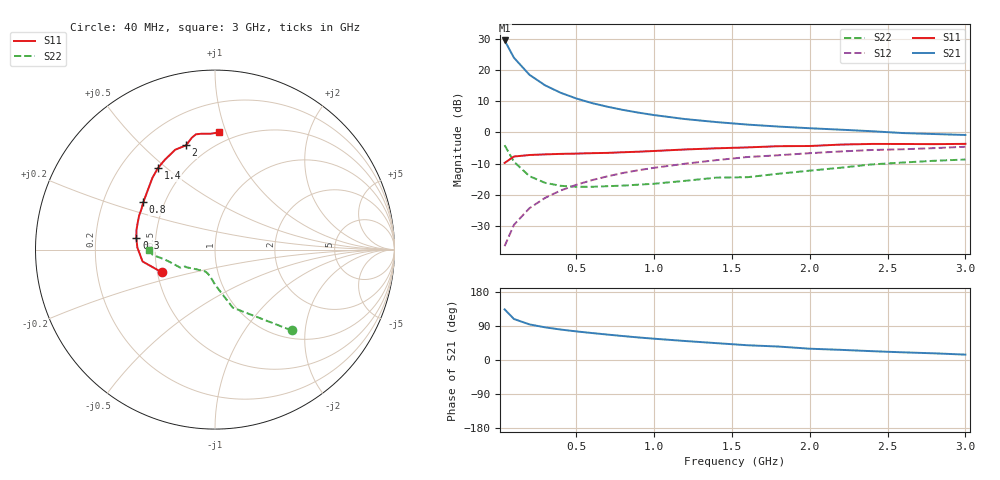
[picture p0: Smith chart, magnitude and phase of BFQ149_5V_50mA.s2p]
! Filename:  BFQ149C.S2P  Version:  2.0
! Philips part #: BFQ149  Date: Aug 1990
! Bias condition: Vce=-5V, Ic=-50mA
#  MHz  S  MA  R  50
! Freq  S11  S21  S12  S22  !GUM [dB]
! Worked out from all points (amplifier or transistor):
!   21 points, 40 MHz to 3 GHz, reference 50 ohm
!   highest |S21| = 29.4 dB at 40 MHz (marker M1)
!   |S21| within 3 dB of that: start of sweep to 72.47 MHz
!   unconditionally stable (mu >= 1): 180.5 MHz to 1.068 GHz
!   at 300 MHz: K = 1.03, MAG = 16.9 dB, |S12| = -21.0 dB
!   at 1 GHz: K = 1.01, MAG = 7.9 dB, |S12| = -11.4 dB
!   at 3 GHz: K = 0.93, MSG = 1.9 dB, |S12| = -4.6 dB
!   S11 on the Smith chart (normalised r, x): 40 MHz: 0.53, -0.15; 300 MHz: 0.39, +0.06; 800 MHz: 0.38, +0.26; 1.4 GHz: 0.36, +0.47; 2 GHz: 0.38, +0.69; 3 GHz: 0.42, +0.95
40  0.323 -157.0  29.58 133.6  0.015 76.3  0.621 -46.5
100  0.409 -170.7  15.63 108.2  0.033 77.9  0.338 -73.0
200  0.433 178.4  8.323 93.9  0.061 78.8  0.198 -89.4
300  0.443 171.5  5.655 86.2  0.089 77.8  0.155 -99.2
400  0.451 166.0  4.297 80.4  0.117 76.5  0.139 -106.9
500  0.456 160.8  3.485 75.5  0.144 74.9  0.134 -112.4
600  0.463 156.0  2.942 71.2  0.171 73.4  0.134 -116.7
700  0.468 151.1  2.57 67.1  0.197 71.6  0.137 -120.7
800  0.479 146.5  2.284 63.2  0.223 69.8  0.14 -124.4
900  0.489 142.1  2.065 59.5  0.247 68.0  0.145 -128.3
1000  0.502 137.9  1.887 56.2  0.27 66.3  0.15 -132.8
1200  0.531 131.0  1.629 50.1  0.314 63.1  0.167 -141.3
1400  0.554 125.1  1.458 44.5  0.358 60.2  0.188 -148.5
1600  0.573 119.3  1.329 38.9  0.402 55.9  0.191 -150.5
1800  0.599 111.7  1.235 35.5  0.429 53.7  0.217 -152.2
2000  0.603 105.5  1.162 29.8  0.463 50.8  0.243 -160.5
2200  0.636 101.8  1.101 26.8  0.493 48.8  0.271 -166.6
2400  0.651 99.4  1.04 23.3  0.521 46.1  0.306 -171.3
2600  0.65 96.5  0.972 20.2  0.535 43.4  0.328 -173.4
2800  0.646 92.4  0.938 17.6  0.558 41.3  0.35 -175.5
3000  0.653 88.0  0.906 14.2  0.587 38.7  0.366 -179.7
